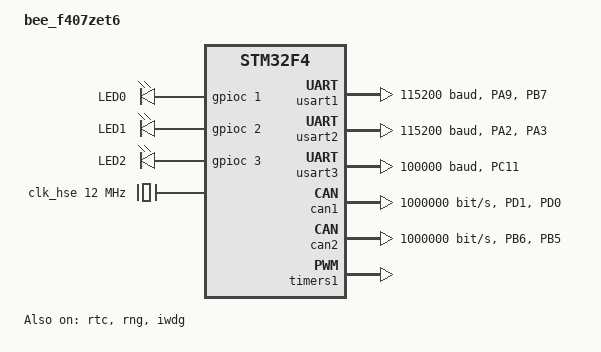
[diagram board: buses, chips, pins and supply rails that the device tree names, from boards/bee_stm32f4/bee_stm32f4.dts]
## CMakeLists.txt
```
# SPDX-License-Identifier: Apache-2.0

cmake_minimum_required(VERSION 3.20.0)
set(BOARD_ROOT "${CMAKE_SOURCE_DIR}")
set(BOARD "bee_stm32f4")
find_package(Zephyr REQUIRED HINTS $ENV{ZEPHYR_BASE})

set(CMAKE_PROJECT_NAME mammoth)
project(${CMAKE_PROJECT_NAME} LANGUAGES C CXX)

target_sources(app PRIVATE
#        src/*.cpp
        src/main.cpp
        src/chassis.cpp
        src/shoot_ring.cpp
        src/aim.cpp
        src/remote.cpp
        motorPack/motor.cpp
        motorPack/can_motor.cpp
        motorPack/pid.cpp
        motorPack/deeprobotics_j60.cpp
        src/load_ring.cpp
        src/can.cpp
        src/dji_dbus.cpp
        src/motor_music.cpp
        src/upper_computer_communication.cpp
        src/serial.cpp
        motorPack/pwm_motor.cpp
        motorPack/pwm_servo.cpp
        motorPack/CubeMarsAK.cpp
        motorPack/dji_motor.cpp
        src/test.cpp
        motorPack/get_time.cpp

)

target_include_directories(app PRIVATE inc src motorPack eigen

)
```

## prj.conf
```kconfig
# 启用 GPIO 驱动
CONFIG_GPIO=y
# DEBUG
CONFIG_DEBUG=y
CONFIG_DEBUG_THREAD_INFO=y

CONFIG_CORTEX_M_DEBUG_MONITOR_HOOK=y
CONFIG_SEGGER_DEBUGMON=y

CONFIG_NO_OPTIMIZATIONS=y
# 可选：同时把断言也打开
CONFIG_ASSERT=y

# 打开 C++ 支持
CONFIG_CPP=y
CONFIG_REQUIRES_FULL_LIBCPP=y
CONFIG_STD_CPP17=y

# 启用 DMA 核心驱动
CONFIG_DMA=y

# 串口配置
CONFIG_SERIAL=y
# 启用 UART 异步 API
CONFIG_UART_ASYNC_API=y
CONFIG_UART_CONSOLE=n

# 启用 LED
CONFIG_LED=y
CONFIG_LED_GPIO=y

# 启用看门狗
# CONFIG_WATCHDOG=n

# 启用 RNG
# CONFIG_RNG=n
# CONFIG_RNG_STM32=n

# 启用系统时钟
CONFIG_SYS_CLOCK_TICKS_PER_SEC=1000

CONFIG_PWM=y
CONFIG_PWM_STM32=y

#启用can
CONFIG_CAN=y

CONFIG_HEAP_MEM_POOL_SIZE=16384

# 强制将中断栈增大到 4KB 或 8KB
#CONFIG_ISR_STACK_SIZE=4096

# 同时增大主线程栈，防止 SendData 压坏栈
CONFIG_MAIN_STACK_SIZE=4096

# 开启栈溢出保护，这样如果还是溢出，系统会打印 "Stack Overflow" 而不是直接死机
CONFIG_HW_STACK_PROTECTION=y
# --- RTT 基础配置 ---
CONFIG_USE_SEGGER_RTT=y
CONFIG_RTT_CONSOLE=y
CONFIG_UART_CONSOLE=n

# --- 日志系统 (可选，但推荐) ---
CONFIG_LOG=y
CONFIG_LOG_BACKEND_RTT=y
CONFIG_LOG_PRINTK=y
# 增大缓冲区，防止丢失数据
CONFIG_SEGGER_RTT_BUFFER_SIZE_UP=4096

# --- 关闭冲突项 ---
CONFIG_TRACING=n
```

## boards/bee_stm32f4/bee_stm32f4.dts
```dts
/dts-v1/;

#include <st/f4/stm32f407Xe.dtsi>
#include <zephyr/dt-bindings/gpio/gpio.h>
#include <zephyr/dt-bindings/pinctrl/stm32-pinctrl.h>
#include <zephyr/dt-bindings/pwm/stm32_pwm.h>

/ {
    model = "bee_f407zet6";
    compatible = "st,stm32f407zet6", "st,stm32f4";

    chosen {
        zephyr,sram = &sram0;
        zephyr,flash = &flash0;
        zephyr,ccm = &ccm0;
    };

    aliases {
        led0 = &led_0_red;
        led1 = &led_1_blue;
        led2 = &led_2_green;
        watchdog0 = &iwdg;
        pwm0 = &tim1_pwm;
        dbus = &usart3;
    };

    leds {
        compatible = "gpio-leds";

        led_0_red: led_0_red {
            gpios = <&gpioc 1 GPIO_ACTIVE_HIGH>;
            label = "LED0";
        };

        led_1_blue: led_1_blue {
            gpios = <&gpioc 2 GPIO_ACTIVE_HIGH>;
            label = "LED1";
        };

        led_2_green: led_2_green {
            gpios = <&gpioc 3 GPIO_ACTIVE_HIGH>;
            label = "LED2";
        };
    };

};

&clk_lsi {
    status = "okay";
};

&clk_hse {
    clock-frequency = <DT_FREQ_M(12)>;
    status = "okay";
};

&pll {
    div-m = <8>;
    mul-n = <168>;
    div-p = <2>;
    div-q = <8>;
    clocks = <&clk_hse>;
    status = "okay";
};

&rcc {
    clocks = <&pll>;
    clock-frequency = <DT_FREQ_M(168)>;
    ahb-prescaler = <1>;
    apb1-prescaler = <4>;
    apb2-prescaler = <2>;
};

&rtc {
    clocks = <&rcc STM32_CLOCK(APB1, 28)>, <&rcc STM32_SRC_LSI RTC_SEL(2)>;
    status = "okay";
};

&rng {
    status = "okay";
};

&iwdg {
    status = "okay";
};

&pinctrl {
    usart1_tx_pin: usart1_tx {
        pinmux = <STM32_PINMUX('A', 9, AF7)>;
        bias-disable;
    };
    usart1_rx_pin: usart1_rx {
        pinmux = <STM32_PINMUX('B', 7, AF7)>;
        bias-disable;
    };
    usart2_tx_pin: usart2_tx {
        pinmux = <STM32_PINMUX('A', 2, AF7)>;
        bias-disable;
    };
    usart2_rx_pin: usart2_rx {
        pinmux = <STM32_PINMUX('A', 3, AF7)>;
        bias-disable;
    };
    usart3_rx_pin: usart3_rx {
        pinmux = <STM32_PINMUX('C', 11, AF7)>;
        bias-disable;
    };

    can1_tx_pin: can1_tx {
        pinmux = <STM32_PINMUX('D', 1, AF9)>;
        bias-disable;
    };
    can1_rx_pin: can1_rx {
        pinmux = <STM32_PINMUX('D', 0, AF9)>;
        bias-disable;
    };

    can2_tx_pin: can2_tx {
        pinmux = <STM32_PINMUX('B', 6, AF9)>;
        bias-disable;
    };
    can2_rx_pin: can2_rx {
        pinmux = <STM32_PINMUX('B', 5, AF9)>;
        bias-disable;
    };
    tim1_ch4_pin: tim1_ch4{
        pinmux = <STM32_PINMUX('E', 14, AF1)>;
    };
};

&usart1 {
    pinctrl-0 = <&usart1_tx_pin &usart1_rx_pin>;
    pinctrl-names = "default";
    status = "okay";
    current-speed = <115200>;
    parity = "none";
    stop-bits = "1";
    data-bits = <8>;
};
&usart2 {
    pinctrl-0 = <&usart2_tx_pin &usart2_rx_pin>;
    pinctrl-names = "default";
    status = "okay";
    current-speed = <115200>;
    parity = "none";
    stop-bits = "1";
    data-bits = <8>;
};
&usart3 {
    pinctrl-0 = <&usart3_rx_pin>;
    pinctrl-names = "default";
    status = "okay";
    current-speed = <100000>;
    parity = "even";
    stop-bits = "2";
    data-bits = <8>;
    /*
    * Stream:1
    * Channel:4
    * Config:0x10400(RX Memory Inc + Medium Priority)
    * Features:0
    */
    dmas= <&dma1 1 4 0x10480 0>;
    dma-names = "rx";
};
&can1 {
    pinctrl-0 = <&can1_tx_pin &can1_rx_pin>;
    pinctrl-names = "default";
    status = "okay";
    bitrate = <1000000>;  /* 替换 bus-speed */
    /* 删除 st,can-filter-mask */
};

&can2 {
    pinctrl-0 = <&can2_tx_pin &can2_rx_pin>;
    pinctrl-names = "default";
    status = "okay";
    bitrate = <1000000>;  /* 替换 bus-speed */
    /* 删除 st,can-filter-mask */
};

&dma1 {
    status = "okay";
};
&dma2 {
    status = "okay";
};
//tim1 ch4
&timers1{
    status = "okay";
    st,prescaler = <1000>;
    tim1_pwm:pwm{
        status = "okay";
        pinctrl-0 = <&tim1_ch4_pin>;
        pinctrl-names = "default";
    };
};
```

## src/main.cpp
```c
//
// Created by nyuki on 2025/11/19.
//

#include "main.h"
#include "zephyr/kernel.h"
#include "can.h"
#include <zephyr/drivers/gpio.h>
#include <load_ring.h>

#include "remote.h"
#include "motor_music.h"
#include "serial.h"
#include "upper_computer_communication.h"
#include "test.h"

#include "kalman_filter.h"
//led指示灯
static const struct gpio_dt_spec led_blue = GPIO_DT_SPEC_GET(DT_ALIAS(led1), gpios);
//底盘
K_THREAD_STACK_DEFINE(chassis_stack_area, 4096);
OmniChassis chassis(0.5, 0.5, 0.15, 5000,
                    1, 2, 4, 3,
                    chassis_can_dev, chassis_stack_area,
                    K_THREAD_STACK_SIZEOF(chassis_stack_area));
//云台
K_THREAD_STACK_DEFINE(ptz_stack_area, 4096);
PTZ ptz(6,5,ptz_can_dev,ptz_stack_area,K_THREAD_STACK_SIZEOF(ptz_stack_area));
//遥控器
extern Remote remote;
//上位机
static const struct device *upper_uart_dev = DEVICE_DT_GET(DT_NODELABEL(usart1));
K_THREAD_STACK_DEFINE(upper_stack_area, 1024);
UpperComputer upper_computer(upper_uart_dev, upper_stack_area, K_THREAD_STACK_SIZEOF(upper_stack_area));


bool Init() {
    Test();
    CanInit(chassis_can_dev);
    CanInit(ptz_can_dev);
    // ptz.Init();
    remote.Init();
    chassis.Init();
    upper_computer.Init();
    // MusicInit();
    return true;
}
int main() {
    // LoadRing();
    if (Init()) {
        printk("初始化成功");
    } else {
        printk("初始化失败");
        return 0;
    }

    gpio_pin_configure_dt(&led_blue, GPIO_OUTPUT_LOW);
    while (true) {
        //运行状态指示灯
        gpio_pin_toggle_dt(&led_blue);
        k_msleep(200);
    }
    return 0;
}
```

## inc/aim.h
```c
//
// Created by nyuki on 2025/11/19.
//

#ifndef MAMMOTH_AIM_H
#define MAMMOTH_AIM_H
#include "dji_motor.h"

class PTZ {
public:
    typedef struct {
        int max_angle;
        int min_angle;
        int angle;
        int zero_angle;
        int32_t target;
    }data_t;

    PTZ(int yaw_motor_id,int pitch_motor_id,const struct device * can_dev,k_thread_stack_t *stack,size_t stack_size):yaw_motor_(yaw_motor_id,can_dev),pitch_motor_(pitch_motor_id,can_dev),stack_(stack),stack_size_(stack_size) {}
    void Init();
    void SetAngle(float yaw,float pitch);
    DjiM3508 yaw_motor_;
    DjiM3508 pitch_motor_;
    data_t yaw_data_;
    data_t pitch_data_;

    
private:
    void InitMotorDirection(bool is_positive_direction);
    void CheckMotorOnline();
    static void ThreadEntry(void *p1, void *p2, void *p3);
    k_thread_stack_t *stack_;
    size_t stack_size_;
    struct k_thread thread_data_;
};
#endif //MAMMOTH_AIM_H
```

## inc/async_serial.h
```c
//
// Created by nyuki on 2025/11/24.
//

#ifndef MAMMOTH_ASYNC_SERIAL_H
#define MAMMOTH_ASYNC_SERIAL_H
#include "zephyr/device.h"
#include "zephyr/drivers/uart.h"
class AsyncSerial
{
public:
    AsyncSerial(const struct device* dev);
protected:
    const struct device* _dev;
    static void uart_callback_wrapper(const struct device *dev,
                                     struct uart_event *evt,
                                     void *user_data);
};
#endif //MAMMOTH_ASYNC_SERIAL_H
```

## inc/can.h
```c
//
// Created by nyuki on 2025/11/19.
//

#ifndef MAMMOTH_CAN_H
#define MAMMOTH_CAN_H
#include "zephyr/device.h"

void CanInit(const struct device *can_id);
static const struct device *const chassis_can_dev = DEVICE_DT_GET(DT_NODELABEL(can2));
static const struct device *const ptz_can_dev = DEVICE_DT_GET(DT_NODELABEL(can2));
#endif //MAMMOTH_CAN_H
```

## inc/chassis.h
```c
//
// Created by nyuki on 2025/11/19.
//

#ifndef MAMMOTH_CHASSIS_H
#define MAMMOTH_CHASSIS_H
#include "dji_motor.h"
#include <Eigen/Dense>
using namespace std;
using namespace Eigen;

class Chassis
{
public:
    float max_wheel_rpm_;

    Chassis(float max_rpm) : max_wheel_rpm_(max_rpm)
    {
    };
    ~Chassis() = default;
    float max_speed_;
    float world_x_;
    float world_y_;
    float world_z_;
    float world_yaw_;
    float world_pitch_;
    float world_roll_;
    float vx_;
    float vy_;
    float yaw_;
    //目标
    float target_vx_;
    float target_vy_;
    float target_omega_;

    virtual void SetSpeed()
    {
    }
};

class OmniChassis : protected Chassis
{
public:
    DjiM3508 motor_fl_;
    DjiM3508 motor_fr_;
    DjiM3508 motor_rl_;
    DjiM3508 motor_rr_;
    DjiM3508* motors[4] = {&motor_fl_, &motor_fr_, &motor_rl_, &motor_rr_};
    Matrix<float, 4, 3> geometry_matrix_;
    float wheel_radius_;
    /**
     * @brief 构造函数，初始化几何矩阵
     * @param width_span  左右轮子中心间距 (Track Width)
     * @param length_span 前后轮子中心间距 (Wheel Base)
     * @param wheel_radius 轮子半径 (米)
     * @param max_wheel_rpm      电机最大转速 (用于归一化保护)
     * @param motor_fl_id   左前电机 ID
     * @param motor_fr_id   右前电机 ID
     * @param motor_rl_id   左后电机 ID
     * @param motor_rr_id   右后电机 ID
     */
    OmniChassis(float width_span, float length_span, float wheel_radius, float max_wheel_rpm, int motor_fl_id,
                int motor_fr_id, int motor_rl_id, int motor_rr_id, const struct device* can_dev,
                k_thread_stack_t* stack, size_t stack_size) : Chassis(max_wheel_rpm),
                                                              wheel_radius_(wheel_radius),
                                                              motor_fl_(motor_fl_id, can_dev),
                                                              motor_fr_(motor_fr_id, can_dev),
                                                              motor_rl_(motor_rl_id, can_dev),
                                                              motor_rr_(motor_rr_id, can_dev), stack_(stack),
                                                              stack_size_(stack_size)
    {
        float a = width_span / 2.0f;
        float b = length_span / 2.0f;
        float k = a + b; // 几何系数

        // 初始化逆运动学矩阵 (对应 X 型布局)
        // 顺序: [FL, FR, RL, RR]
        // 输入: [vx, vy, omega]

        geometry_matrix_ <<
            1, 1, k, // FL: vx - vy - k*w
            -1, 1, k, // FR: vx + vy + k*w
            1, -1, k, // RL: vx + vy - k*w
            -1, -1, k; // RR: vx - vy + k*w
    }

    void MotorInit(float spd_pid_kp, float spd_pid_ki, float spd_pid_kd, float spd_pid_max_output = 2000,
                   float pos_pid_kp = 0, float pos_pid_ki = 0, float pos_pid_kd = 0, float pos_pid_max_output = 2000);
    //实际底盘速度发送函数
    void SetSpeed();
    /**
     * @brief 设置底盘目标速度，此接口用于供遥控器调用
     * @param vx     底盘 X 轴速度 (m/s)
     * @param vy     底盘 Y 轴速度 (m/s)
     * @param omega  底盘自转角速度 (rad/s)
     */
    void SetTargetSpeed(float vx, float vy, float omega);

    int Init();

private:
    /**
     * @brief 逆运动学解算：输入底盘速度，输出电机转速(RPM)
     * @param vx     底盘 X 轴速度 (m/s)
     * @param vy     底盘 Y 轴速度 (m/s)
     * @param omega  底盘自转角速度 (rad/s)
     * @return Vector4f 包含四个轮子的转速 [FL, FR, RL, RR] 单位: RPM
     */
    Vector4f ComputeInverseKinematics(float vx, float vy, float omega) const;
    void NormalizeSpeed(Vector4f& rpm) const;
    static void ThreadEntry(void* p1, void* p2, void* p3);
    k_thread_stack_t* stack_;
    size_t stack_size_;
    struct k_thread thread_data_;
};
#endif //MAMMOTH_CHASSIS_H
```

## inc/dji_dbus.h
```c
#pragma once
#include <zephyr/kernel.h>
#include <zephyr/drivers/uart.h>
#include <cstdint>

#define DBUS_FRAME_SIZE 18
#define DBUS_PAYLOAD_OFFSET 1

class DjiDbus
{
public:
    // 数据结构
    struct RemoteData
    {
        int16_t ch0;
        int16_t ch1;
        int16_t ch2;
        int16_t ch3;
        uint8_t s1;
        uint8_t s2;
        uint16_t mouse_x;
        uint16_t mouse_y;
        uint16_t mouse_z;
        uint8_t mouse_left;
        uint8_t mouse_right;
        uint16_t key;
    };

    DjiDbus(const struct device *const dbus_dev);
    int ReceivingData();

    void GetData(RemoteData& out_data);

protected:
    const struct device *const dev_;

    struct buffer_t
    {
        uint8_t data[DBUS_FRAME_SIZE];
    } __aligned(4);

    buffer_t buf1_;
    buffer_t buf2_;
    buffer_t* next_buf_ptr_;

    // 影子副本
    RemoteData data_safe_;

    struct k_spinlock lock_;

    static void uart_callback(const struct device *dev, struct uart_event *evt, void *user_data);
    void process_event(struct uart_event *evt);

    void parse_raw_to_struct(const uint8_t* raw_ptr, RemoteData& target);
};
```

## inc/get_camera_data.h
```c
//
// Created by nyuki on 2025/11/29.
//

#ifndef MAMMOTH_GET_CAMERA_DATA_H
#define MAMMOTH_GET_CAMERA_DATA_H

#endif //MAMMOTH_GET_CAMERA_DATA_H
```

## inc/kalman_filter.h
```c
//
// Created by nyuki on 2025/12/29.
//

#ifndef MAMMOTH_KALMAN_FILTER_H
#define MAMMOTH_KALMAN_FILTER_H
#include <Eigen/Dense>

/**
 * @brief 卡尔曼滤波
 *
 * @tparam StateDim 状态向量 x 的维度
 * @tparam MeasureDim 测量向量 z 的维度
 * @tparam ControlDim 控制向量 u 的维度 (默认为0)
 */
template <int StateDim, int MeasureDim, int ControlDim = 0>
class KalmanFilter
{
public:
    using VectorState = Eigen::Matrix<double, StateDim, 1>;
    using VectorMeasure = Eigen::Matrix<double, MeasureDim, 1>;
    using VectorControl = Eigen::Matrix<double, ControlDim, 1>;

    using MatrixState = Eigen::Matrix<double, StateDim, StateDim>;
    using MatrixMeasure = Eigen::Matrix<double, MeasureDim, MeasureDim>;
    using MatrixStateMeasure = Eigen::Matrix<double, StateDim, MeasureDim>;
    using MatrixMeasureState = Eigen::Matrix<double, MeasureDim, StateDim>;
    using MatrixStateControl = Eigen::Matrix<double, StateDim, ControlDim>;

    VectorState x; // 状态向量
    MatrixState P; // 状态协方差矩阵
    MatrixState Q; // 过程噪声协方差矩阵
    MatrixMeasure R; // 测量噪声协方差矩阵

    MatrixState A; // 状态转移矩阵
    MatrixStateControl B; // 控制输入矩阵
    MatrixMeasureState H; // 测量矩阵

    /**
     * @brief 构造函数
     */
    KalmanFilter()
    {
        x.setZero();
        P.setIdentity();
        Q.setIdentity();
        R.setIdentity();
        A.setIdentity();
        B.setZero();
        H.setZero();
    }

    /**
     * @brief 初始化状态和协方差
     */
    void Init(const VectorState& initial_x, const MatrixState& initial_P)
    {
        x = initial_x;
        P = initial_P;
    }

    /**
     * @brief 预测步骤 (包含控制输入 u)
     * x' = A*x + B*u
     * P' = A*P*A^T + Q
     */
    void Predict(const VectorControl& u)
    {
        x = A * x + B * u;
        P = A * P * A.transpose() + Q;
    }

    /**
     * @brief 预测步骤 (无控制输入)
     * 重载版本，当没有 u 时调用
     */
    void Predict()
    {
        x = A * x;
        P = A * P * A.transpose() + Q;
    }

    /**
     * @brief 更新步骤
     * K = P * H^T * (H * P * H^T + R)^-1
     * x = x + K * (z - H * x)
     * P = (I - K * H) * P
     */
    void Update(const VectorMeasure& z)
    {
        MatrixMeasure S = H * P * H.transpose() + R;

        // 计算 K = P * H^T * S^-1
        // MatrixStateMeasure K = P * H.transpose() * S.inverse();
        MatrixStateMeasure K = (S.ldlt().solve(H * P)).transpose();

        VectorMeasure y = z - H * x; // 测量残差
        x = x + K * y;

        MatrixState I = MatrixState::Identity();
        P = (I - K * H) * P;
    }
};

#endif //MAMMOTH_KALMAN_FILTER_H
```

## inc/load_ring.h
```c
//
// Created by nyuki on 2025/11/19.
//

#ifndef MAMMOTH_LOAD_RING_H
#define MAMMOTH_LOAD_RING_H
void LoadRing();
#endif //MAMMOTH_LOAD_RING_H
```

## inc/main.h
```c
//
// Created by nyuki on 2025/11/19.
//

#ifndef MAMMOTH_MAIN_H
#define MAMMOTH_MAIN_H
#include "aim.h"
#include "chassis.h"
#include "can.h"

extern PTZ ptz;
extern OmniChassis chassis;

#endif //MAMMOTH_MAIN_H
```

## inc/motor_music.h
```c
//
// Created by nyuki on 2025/11/27.
//

#ifndef MAMMOTH_MOTOR_MUSIC_H
#define MAMMOTH_MOTOR_MUSIC_H

#include <array>
#include <vector>

#include "motor.h"
#include "dji_motor.h"
#include <zephyr/kernel.h>
#include "can.h"
struct Note {
    uint16_t frequency; // 频率
    uint16_t duration;  // 时长系数
};

class MotorMusic {
public:
    DjiM3508 motor;
    MotorMusic(int id,const struct device * can_dev,int max_cur,float volume,k_thread_stack_t *stack,size_t stack_size):motor(id,can_dev),max_cur_(max_cur),volume_(volume),stack_(stack),stack_size_(stack_size){}

    void play(const Note* musical_score, size_t length,int unit);

    int Init();
protected:
    int max_cur_;
    float volume_;
private:
    k_thread_stack_t *stack_;
    size_t stack_size_;
    struct k_thread thread_data_;
    // static void ThreadEntry(void *p1, void *p2, void *p3);

};
#endif //MAMMOTH_MOTOR_MUSIC_H
```

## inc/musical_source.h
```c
//
// Created by nyuki on 2025/11/27.
//

#ifndef MAMMOTH_MUSIC_SOURCE_H
#define MAMMOTH_MUSIC_SOURCE_H
// ==========================================
// 补全：超低音区 (用于模拟震动、引擎声)
// ==========================================
#define C2  65
#define Cs2 69
#define D2  73
#define Ds2 78
#define E2  82
#define F2  87
#define Fs2 93
#define G2  98
#define Gs2 104
#define A2  110
#define As2 117
#define B2  123

// ==========================================
// 补全：低音区 (用于鼓点、贝斯伴奏)
// ==========================================
#define C3  131
#define Cs3 139
#define D3  147
#define Ds3 156
#define E3  165
#define F3  175
#define Fs3 185
#define G3  196
#define Gs3 208
#define A3  220
#define As3 233
#define B3  247

#define C4  262
#define Cs4 277
#define D4  294
#define Ds4 311
#define E4  330
#define F4  349
#define Fs4 370
#define G4  392
#define Gs4 415
#define A4  440
#define As4 466
#define B4  494

#define C5  523
#define Cs5 554
#define D5  587
#define Ds5 622
#define E5  659
#define F5  698
#define Fs5 740
#define G5  784
#define Gs5 831
#define A5  880
#define As5 932
#define B5  988

#define C6  1047
#define Cs6 1109
#define D6  1175
#define Ds6 1245
#define E6  1319
#define F6  1397
#define Fs6 1480
#define G6  1568
#define Gs6 1661
#define A6  1760
#define As6 1865
#define B6  1976

#define C7  2093
#define Cs7 2217
#define D7  2349
#define Ds7 2489
#define E7  2637
#define F7  2794
#define Fs7 2960
#define G7  3136
#define Gs7 3322
#define A7  3520
#define As7 3729
#define B7  3951

// #define UNIT 125

static const Note happy_birthday[] = {
    // === 第一句: Happy Birthday to You ===
    {G4, 1}, {0, 1},  // Hap-
    {G4, 1}, {0, 1},  // py
    {A4, 2}, {0, 1},  // Birth-
    {G4, 2}, {0, 1},  // day
    {C5, 2}, {0, 1},  // to
    {B4, 4}, {0, 2},  // You (长音)

    // === 第二句: Happy Birthday to You ===
    {G4, 1}, {0, 1},  // Hap-
    {G4, 1}, {0, 1},  // py
    {A4, 2}, {0, 1},  // Birth-
    {G4, 2}, {0, 1},  // day
    {D5, 2}, {0, 1},  // to
    {C5, 4}, {0, 2},  // You (长音)

    // === 第三句: Happy Birthday Dear [Name] (高潮部分) ===
    {G4, 1}, {0, 1},  // Hap-
    {G4, 1}, {0, 1},  // py
    {G5, 2}, {0, 1},  // Birth- (高音索)
    {E5, 2}, {0, 1},  // day
    {C5, 2}, {0, 1},  // Dear
    {B4, 2}, {0, 1},  // Na-
    {A4, 4}, {0, 2},  // me (长音)

    // === 第四句: Happy Birthday to You ===
    {F5, 1}, {0, 1},  // Hap- (注意这里用了F5，法)
    {F5, 1}, {0, 1},  // py
    {E5, 2}, {0, 1},  // Birth-
    {C5, 2}, {0, 1},  // day
    {D5, 2}, {0, 1},  // to
    {C5, 6}, {0, 4},  // You (最后结束，拖长一点)

    // 结束休止
    {0, 10}
};
static const Note happy_birthday_full[] = {
    // (So So La So Do Ti)
    {G4, 1}, {0, 1},  // Hap- (1)
    {G4, 1}, {0, 1},  // py   (1)
    {A4, 2}, {0, 1},  // Birth- (2)
    {G4, 2}, {0, 1},  // day  (2)
    {C5, 2}, {0, 1},  // to   (2)
    {B4, 4}, {0, 2},  // You  (4 - 长音)

    // (So So La So Re Do)
    {G4, 1}, {0, 1},  // Hap-
    {G4, 1}, {0, 1},  // py
    {A4, 2}, {0, 1},  // Birth-
    {G4, 2}, {0, 1},  // day
    {D5, 2}, {0, 1},  // to
    {C5, 4}, {0, 2},  // You (长音)

    // (So So So(High) Mi Do Ti La)
    {G4, 1}, {0, 1},  // Hap-
    {G4, 1}, {0, 1},  // py
    {G5, 2}, {0, 1},  // Birth- (高音!)
    {E5, 2}, {0, 1},  // day
    {C5, 2}, {0, 1},  // Dear
    {B4, 2}, {0, 1},  // Na-
    {A4, 4}, {0, 2},  // me (长音)

    // (Fa Fa Mi Do Re Do)
    {F5, 1}, {0, 1},  // Hap-
    {F5, 1}, {0, 1},  // py
    {E5, 2}, {0, 1},  // Birth-
    {C5, 2}, {0, 1},  // day
    {D5, 2}, {0, 1},  // to
    {C5, 6}, {0, 4},  // You (最长结束音)

    // 留白
    {0, 10}
};
// 海底捞名曲：《对所有的烦恼说 Bye Bye》
// 建议 tempo: UNIT = 100 ms

static const Note haidilao_birthday[] = {
    // 强拍加低音 C3 (130Hz)
    {C3, 1}, {E5, 1}, {0, 1}, {E5, 1}, {0, 1}, {E5, 1}, {0, 1}, // 动-对-空-所-空-有
    // ...
    // === 第一句：对所有的烦恼说 Bye Bye ===
    // (3 3 3 4 5 | 5 4 3 2 2)
    {E5, 1}, {0, 1}, {E5, 1}, {0, 1}, {E5, 1}, {0, 1}, {F5, 1}, {0, 1}, {G5, 2}, {0, 1}, // 对所有的
    {G5, 1}, {0, 1}, {F5, 1}, {0, 1}, {E5, 1}, {0, 1}, {D5, 2}, {0, 1}, {D5, 2}, {0, 1}, // 烦恼说 Bye Bye

    // === 第二句：对所有的快乐说 Hi Hi ===
    // (2 2 2 3 4 | 4 3 2 3 3)
    {D5, 1}, {0, 1}, {D5, 1}, {0, 1}, {D5, 1}, {0, 1}, {E5, 1}, {0, 1}, {F5, 2}, {0, 1}, // 对所有的
    {F5, 1}, {0, 1}, {E5, 1}, {0, 1}, {D5, 1}, {0, 1}, {E5, 2}, {0, 1}, {E5, 2}, {0, 1}, // 快乐说 Hi Hi

    // === 第三句：亲爱的亲爱的 生日快乐 ===
    // (3 3 3 4 5 | 5 4 3 2 2)
    {E5, 1}, {0, 1}, {E5, 1}, {0, 1}, {E5, 1}, {0, 1}, {F5, 1}, {0, 1}, {G5, 2}, {0, 1}, // 亲爱的
    {G5, 1}, {0, 1}, {F5, 1}, {0, 1}, {E5, 1}, {0, 1}, {D5, 2}, {0, 1}, {D5, 2}, {0, 1}, // 亲爱的...

    // === 第四句：每一天都精彩 ===
    // (2 2 3 2 1)
    {D5, 1}, {0, 1}, {D5, 1}, {0, 1}, {E5, 1}, {0, 1}, {D5, 1}, {0, 1}, {C5, 4}, {0, 2}, // 每一天都精彩

    // === 间奏：噔 噔 噔噔噔 (和弦音效模拟) ===
    {C5, 1}, {0, 1}, {E5, 1}, {0, 1}, {G5, 1}, {E5, 1}, {C6, 4}, {0, 4},

    // === 结尾：看最后一眼 (Ha-ppy Birth-day) ===
    {G4, 1}, {0, 1}, {G4, 1}, {0, 1}, {A4, 2}, {0, 1}, {B4, 2}, {0, 1}, {C5, 6}, {0, 6}
};
// 广东名曲：《祝寿歌》 (恭祝你福寿与天齐)
// 建议 UNIT = 125 或 130

static const Note cantonese_birthday[] = {
    // === 第一句：恭祝你福寿与天齐 ===
    // (So Do Do Re Mi Do Re Mi)
    {G4, 1}, {0, 1},  // 恭
    {C5, 1}, {0, 1},  // 祝
    {C5, 1}, {0, 1},  // 你
    {D5, 1}, {0, 1},  // 福
    {E5, 1}, {0, 1},  // 寿
    {C5, 1}, {0, 1},  // 与
    {D5, 1}, {0, 1},  // 天
    {E5, 4}, {0, 2},  // 齐 (长音)

    // === 第二句：庆贺你生辰快乐 ===
    // (Re Mi Fa So Fa Mi Re Do)
    {D5, 1}, {0, 1},  // 庆
    {E5, 1}, {0, 1},  // 贺
    {F5, 1}, {0, 1},  // 你
    {G5, 1}, {0, 1},  // 生
    {F5, 1}, {0, 1},  // 辰
    {E5, 1}, {0, 1},  // 快
    {D5, 1}, {0, 1},  // 乐
    {C5, 4}, {0, 2},  // (长音)

    // === 第三句：年年都有今日 ===
    // (Do Do Re Do So So)
    {C5, 1}, {0, 1},  // 年
    {C5, 1}, {0, 1},  // 年
    {D5, 1}, {0, 1},  // 都
    {C5, 1}, {0, 1},  // 有
    {G5, 2}, {0, 1},  // 今
    {G5, 2}, {0, 1},  // 日

    // === 第四句：岁岁都有今朝 ===
    // (La So Fa Mi Re Do)
    {A5, 1}, {0, 1},  // 岁
    {G5, 1}, {0, 1},  // 岁
    {F5, 1}, {0, 1},  // 都
    {E5, 1}, {0, 1},  // 有
    {D5, 2}, {0, 1},  // 今
    {C5, 4}, {0, 2},  // 朝

    // === 第五句：恭喜你 恭喜你 ===
    // (Do Re Mi, Re Mi Fa)
    {C5, 1}, {0, 1}, {D5, 1}, {0, 1}, {E5, 3}, {0, 1}, // 恭喜你
    {D5, 1}, {0, 1}, {E5, 1}, {0, 1}, {F5, 3}, {0, 1}, // 恭喜你

    // === 结尾：恭喜你 (So Re Mi Fa) ===
    {G5, 1}, {0, 1}, {D5, 1}, {0, 1}, {E5, 1}, {0, 1}, {F5, 1}, {0, 1}, // 恭喜你
    {E5, 4}, {0, 2}, {C5, 6}, {0, 4}, // (结束长音)

    // 结束休止
    {0, 10}
};
static const Note hajimi_original[] = {
    // Dango Dango Dango Dango (Do Do Ti La So So)
    {C5, 1}, {C5, 1}, {B4, 1}, {A4, 1}, {G4, 2}, {G4, 2},

    // Dango Daikazoku (Fa So La So Fa Mi Re)
    {F4, 1}, {G4, 1}, {A4, 1}, {G4, 1}, {F4, 1}, {E4, 1}, {D4, 2}, {0, 1},

    // (重复洗脑) Yancha na yaki dango (Do Do Ti La So So)
    {C5, 1}, {C5, 1}, {B4, 1}, {A4, 1}, {G4, 2}, {G4, 2},

    // Yasashii an dango (Fa So La So Fa Mi Re)
    {F4, 1}, {G4, 1}, {A4, 1}, {G4, 1}, {F4, 1}, {E4, 1}, {D4, 2}, {0, 1},

    // 稍微停顿，准备下一轮哈基米
    {C5, 1}, {0, 1}, {G4, 1}, {0, 1}, {C5, 4}, {0, 4}
};
// 中文互联网神曲：《蓝莲花》 (许巍) - The Hymn of Freedom
// 这里的 "蓝链" 指的是副歌部分：没有什么能够阻挡...

static const Note blue_lotus[] = {
    // === 第一句：没有什么能够阻挡 ===
    // (Mi Sol La ~ Sol Mi Re Do ~)
    {E5, 2}, {0, 1}, {G5, 2}, {0, 1}, {A5, 4}, {0, 1}, // 没有什么
    {G5, 2}, {0, 1}, {E5, 2}, {0, 1}, {D5, 2}, {0, 1}, {C5, 6}, {0, 2}, // 能够阻挡

    // === 第二句：你对自由的向往 ===
    // (Do Re Mi Sol ~ Mi Re ~~~)
    {C5, 2}, {0, 1}, {D5, 2}, {0, 1}, {E5, 2}, {0, 1}, {G5, 4}, {0, 1}, // 你对自由
    {E5, 2}, {0, 1}, {D5, 8}, {0, 4}, // 的向往 (长音拖住)

    // === 第三句：天马行空的生涯 ===
    // (Mi Sol La Do(high) ~ Si La Sol Mi ~)
    {E5, 2}, {0, 1}, {G5, 2}, {0, 1}, {A5, 2}, {0, 1}, {C6, 4}, {0, 1}, // 天马行空
    {B5, 3}, {0, 1}, {A5, 1}, {0, 1}, {G5, 2}, {0, 1}, {E5, 6}, {0, 2}, // 的生涯

    // === 第四句：你的心了无牵挂 ===
    // (Mi Sol La Sol ~ Mi Re Do ~~~)
    {E5, 2}, {0, 1}, {G5, 2}, {0, 1}, {A5, 2}, {0, 1}, {G5, 4}, {0, 1}, // 你的心了
    {E5, 2}, {0, 1}, {D5, 2}, {0, 1}, {C5, 10}, {0, 4}, // 无牵挂 (结束长音)

    // === 间奏吉他 Solo (简化版) ===
    // 穿过幽暗的岁月...
    {0, 4}, // 停顿一下
    {A5, 2}, {C6, 2}, {D6, 4}, {C6, 2}, {A5, 2}, {G5, 4}, // 吉他余音
    {0, 10}
};
// 麦当劳洗脑金曲：《我就喜欢》 (I'm Lovin' It)
// 旋律：Ba Da Ba Ba Ba (Do Re Mi La So)
static const Note mcdonalds_jingle[] = {
    // Ba (Do)
    {C5, 1}, {0, 1},

    // La (Re)
    {D5, 1}, {0, 1},

    // Ba (Mi)
    {E5, 1}, {0, 1},

    // Ba (La - 这是一个高音跳跃，灵魂所在)
    {A5, 2}, {0, 1},

    // Ba (So - 慵懒的结尾)
    {G5, 6}, {0, 4}
};
// 附赠：Windows XP 启动音效 (怀旧版)
// (Re# Re# Re# Do# La# G#)
static const Note windows_xp_startup[] = {
    {Ds5, 1}, {0, 1}, // 噔
    {Ds5, 1}, {0, 1}, // 噔
    {Ds5, 1}, {0, 1}, // 噔
    {Cs5, 2}, {0, 1}, // 噔~
    {As4, 2}, {0, 1}, // 噔~
    {Gs4, 6}, {0, 4}  // 噔~~~~
};
// 许巍 - 蓝莲花 (完整版)
// 包含前奏吉他 Solo + 主歌 + 副歌
static const Note blue_lotus_full[] = {
    // ===========================
    // Part 1: 经典吉他前奏 (Intro)
    // ===========================
    // (La Do Re Mi Sol Mi Re Do La ~)
    {A4, 1}, {0, 1}, {C5, 1}, {0, 1}, {D5, 1}, {0, 1}, {E5, 2}, {0, 1}, // 爬升
    {G5, 2}, {0, 1}, {E5, 2}, {0, 1}, {D5, 2}, {0, 1}, {C5, 2}, {0, 1}, {A4, 6}, {0, 2}, // 回落

    // (La Do Re Mi Sol Mi Re ~)
    {A4, 1}, {0, 1}, {C5, 1}, {0, 1}, {D5, 1}, {0, 1}, {E5, 2}, {0, 1},
    {G5, 2}, {0, 1}, {E5, 2}, {0, 1}, {D5, 6}, {0, 4}, // 长音

    // ===========================
    // Part 2: 主歌 (Verse)
    // ===========================
    // 心中那自由的世界 (La Do Re Mi Re Do La)
    {A4, 2}, {0, 1}, {C5, 2}, {0, 1}, {D5, 2}, {0, 1}, {E5, 4}, {0, 1},
    {D5, 2}, {0, 1}, {C5, 2}, {0, 1}, {A4, 6}, {0, 2},

    // 如此的清澈高远 (La Do Re Mi Sol Mi Re)
    {A4, 2}, {0, 1}, {C5, 2}, {0, 1}, {D5, 2}, {0, 1}, {E5, 4}, {0, 1},
    {G5, 2}, {0, 1}, {E5, 2}, {0, 1}, {D5, 6}, {0, 2},

    // 盛开着永不凋零 (Mi Sol La Do(H) Si La Sol)
    {E5, 2}, {0, 1}, {G5, 2}, {0, 1}, {A5, 2}, {0, 1}, {C6, 4}, {0, 1}, // 上高音 Do
    {B5, 2}, {0, 1}, {A5, 2}, {0, 1}, {G5, 6}, {0, 2},

    // 蓝莲花 (Mi Re Do La)
    {E5, 2}, {0, 1}, {D5, 2}, {0, 1}, {C5, 2}, {0, 1}, {A4, 8}, {0, 4}, // 极长的停顿

    // ===========================
    // Part 3: 副歌 (Chorus) - 高潮
    // ===========================
    // 没有什么能够阻挡 (Mi Sol La ~ Sol Mi Re Do)
    {E5, 2}, {0, 1}, {G5, 2}, {0, 1}, {A5, 6}, {0, 1}, // "挡"字要长
    {G5, 2}, {0, 1}, {E5, 2}, {0, 1}, {D5, 2}, {0, 1}, {C5, 8}, {0, 2},

    // 你对自由的向往 (Do Re Mi Sol ~ Mi Re ~)
    {C5, 2}, {0, 1}, {D5, 2}, {0, 1}, {E5, 2}, {0, 1}, {G5, 6}, {0, 1},
    {E5, 2}, {0, 1}, {D5, 8}, {0, 4},

    // 天马行空的生涯 (Mi Sol La Do(H) ~ Si La Sol Mi)
    {E5, 2}, {0, 1}, {G5, 2}, {0, 1}, {A5, 2}, {0, 1}, {C6, 6}, {0, 1}, // 最高音
    {B5, 2}, {0, 1}, {A5, 2}, {0, 1}, {G5, 2}, {0, 1}, {E5, 6}, {0, 2},

    // 你的心了无牵挂 (Mi Sol La Sol ~ Mi Re Do)
    {E5, 2}, {0, 1}, {G5, 2}, {0, 1}, {A5, 2}, {0, 1}, {G5, 6}, {0, 1},
    {E5, 2}, {0, 1}, {D5, 2}, {0, 1}, {C5, 8}, {0, 4},

    // ===========================
    // Part 4: 尾奏余音 (Outro)
    // ===========================
    // 穿过幽暗的岁月 (Mi Re Do La ~)
    {E5, 3}, {0, 1}, {D5, 3}, {0, 1}, {C5, 3}, {0, 1}, {A4, 10}, {0, 5},

    // 彻底结束
    {0, 10}
};
// B站名曲：《蓝莲哈》 (Lan Lian Ha)
// 原曲：许巍 - 蓝莲花
// 特点：模仿哈基米的高音唱腔，专注于副歌洗脑循环
static const Note lan_lian_ha[] = {
    // ===========================
    // 预备动作：哈基米深呼吸
    // ===========================
    {0, 4},

    // ===========================
    // 第一句：哈基米呜哇啊哦 (没有什么能够阻挡)
    // 3 5 6 ~~~ 5 3 2 1 ~~~
    // ===========================
    {E5, 2}, {0, 1}, // 哈 (Mei)
    {G5, 2}, {0, 1}, // 基 (You)
    {A5, 8}, {0, 2}, // 米~~~~~ (Shen Me - 这里的拉长是灵魂)

    {G5, 2}, {0, 1}, // 呜 (Neng)
    {E5, 2}, {0, 1}, // 哇 (Gou)
    {D5, 2}, {0, 1}, // 啊 (Zu)
    {C5, 8}, {0, 4}, // 哦~~~~~ (Dang)

    // ===========================
    // 第二句：你对哈基米的向往
    // 1 2 3 5 ~ 3 2 2 ~~~
    // ===========================
    {C5, 2}, {0, 1}, // 你 (Ni)
    {D5, 2}, {0, 1}, // 对 (Dui)
    {E5, 2}, {0, 1}, // 哈 (Zi)
    {G5, 6}, {0, 2}, // 基~~~~ (You)

    {E5, 2}, {0, 1}, // 米 (De)
    {D5, 10}, {0, 4}, // 的向往~~~~ (Xiang Wang)

    // ===========================
    // 第三句：天马行空的哈基米 (高音爆发)
    // 3 5 6 1(H) ~ 7 6 5 3 ~
    // ===========================
    {E5, 2}, {0, 1}, // 天 (Tian)
    {G5, 2}, {0, 1}, // 马 (Ma)
    {A5, 2}, {0, 1}, // 行 (Xing)
    {C6, 8}, {0, 2}, // 空~~~~~ (Kong - 最高音，电机尖叫吧！)

    {B5, 3}, {0, 1}, // 的 (De)
    {A5, 2}, {0, 1}, // 生 (Sheng)
    {G5, 2}, {0, 1}, // 涯 (Ya)
    {E5, 6}, {0, 4}, // ~~~~

    // ===========================
    // 第四句：你的心了无牵挂
    // 3 5 6 5 ~ 3 2 1 ~~~
    // ===========================
    {E5, 2}, {0, 1}, // 你 (Ni)
    {G5, 2}, {0, 1}, // 的 (De)
    {A5, 2}, {0, 1}, // 心 (Xin)
    {G5, 6}, {0, 2}, // 了~~~~ (Liao)

    {E5, 2}, {0, 1}, // 无 (Wu)
    {D5, 2}, {0, 1}, // 牵 (Qian)
    {C5, 10}, {0, 6}, // 挂~~~~~ (Gua)

    // 循环前的留白
    {0, 8}
};
// 圣诞名曲：《祝你圣诞快乐》 (We Wish You a Merry Christmas)
static const Note merry_christmas[] = {
    // === 第一句：We wish you a Merry Christmas ===
    // (So | Do Do Re Do Ti | La La)
    {G4, 2}, {0, 1}, // We (起拍)
    {C5, 2}, {0, 1}, // wish
    {C5, 1}, {D5, 1}, {C5, 1}, {B4, 1}, // you a Mer-ry (快速流动)
    {A4, 2}, {0, 1}, {A4, 2}, {0, 1}, // Christ-mas

    // === 第二句：We wish you a Merry Christmas ===
    // (La | Re Re Mi Re Do | Ti So)
    {A4, 2}, {0, 1}, // We
    {D5, 2}, {0, 1}, // wish
    {D5, 1}, {E5, 1}, {D5, 1}, {C5, 1}, // you a Mer-ry
    {B4, 2}, {0, 1}, {G4, 2}, {0, 1}, // Christ-mas

    // === 第三句：We wish you a Merry Christmas ===
    // (So | Mi Mi Fa Mi Re | Do La)
    {G4, 2}, {0, 1}, // We
    {E5, 2}, {0, 1}, // wish
    {E5, 1}, {F5, 1}, {E5, 1}, {D5, 1}, // you a Mer-ry
    {C5, 2}, {0, 1}, {A4, 2}, {0, 1}, // Christ-mas

    // === 第四句：And a Happy New Year ===
    // (So So | La Re Ti | Do)
    {G4, 1}, {G4, 1}, // And a
    {A4, 2}, {0, 1}, // Hap-
    {D5, 2}, {0, 1}, // py
    {B4, 2}, {0, 1}, // New
    {C5, 6}, {0, 4}, // Year (长音结束)

    {0, 10}
};
// 圣诞名曲：《铃儿响叮当》 (Jingle Bells)
// 包含副歌部分：叮叮当，叮叮当，铃儿响叮当
static const Note jingle_bells[] = {
    // === 第一句：叮叮当，叮叮当 ===
    // (Mi Mi Mi ~ Mi Mi Mi ~)
    {E5, 1}, {0, 1}, {E5, 1}, {0, 1}, {E5, 2}, {0, 2}, // Jingle bells
    {E5, 1}, {0, 1}, {E5, 1}, {0, 1}, {E5, 2}, {0, 2}, // Jingle bells

    // === 第二句：铃儿响叮当 ===
    // (Mi So Do Re Mi ~~~)
    {E5, 1}, {0, 1}, {G5, 1}, {0, 1}, {C5, 1}, {0, 1}, {D5, 1}, {0, 1},
    {E5, 6}, {0, 2}, // Jingle all the way

    // === 第三句：我们滑雪多快乐 ===
    // (Fa Fa Fa Fa Fa Mi Mi Mi)
    {F5, 1}, {0, 1}, {F5, 1}, {0, 1}, {F5, 1}, {0, 1}, {F5, 1}, {0, 1}, // Oh what fun
    {F5, 1}, {0, 1}, {E5, 1}, {0, 1}, {E5, 1}, {0, 1}, {E5, 1}, {0, 1}, // it is to ride

    // === 第四句：我们坐在雪橇上 ===
    // (Mi Re Re Mi Re ~ So ~)
    {E5, 1}, {0, 1}, {D5, 1}, {0, 1}, {D5, 1}, {0, 1}, {E5, 1}, {0, 1},
    {D5, 2}, {0, 1}, {G5, 2}, {0, 2}, // One horse open sleigh!

    // (重复一遍高潮 - 略)
    // 结尾：(So So Fa Re Do)
    {G5, 1}, {0, 1}, {G5, 1}, {0, 1}, {F5, 1}, {0, 1}, {D5, 1}, {0, 1}, {C5, 6}, {0, 4},

    {0, 10}
};
// 刘德华 - 恭喜发财 (CNY National Anthem)
// 包含前奏的鼓点和最经典的副歌
static const Note gong_xi_fa_cai[] = {
    // ===========================
    // Intro: 鞭炮与鼓点 (咚! 咚! 咚! 锵!)
    // ===========================
    {G3, 2}, {0, 1}, {G3, 2}, {0, 1}, {G3, 2}, {0, 1}, {C5, 4}, {0, 2}, // 低频震动模拟大鼓

    // ===========================
    // Pre-Chorus: 恭喜你发财，恭喜你精彩
    // (So So So Do(High) ~ So So So Re(High) ~)
    // ===========================
    {G4, 1}, {0, 1}, {G4, 1}, {0, 1}, {G4, 1}, {0, 1}, {C5, 4}, {0, 2}, // 恭喜你发财
    {G4, 1}, {0, 1}, {G4, 1}, {0, 1}, {G4, 1}, {0, 1}, {D5, 4}, {0, 2}, // 恭喜你精彩

    // ===========================
    // Verse: 我恭喜你发财 (主歌开始)
    // (Do Do Re Mi Fa So ~~~)
    // ===========================
    {C5, 1}, {0, 1}, {C5, 1}, {0, 1}, {D5, 1}, {0, 1}, {E5, 1}, {0, 1},
    {F5, 1}, {0, 1}, {G5, 4}, {0, 2}, // 我恭喜你发财

    // 我恭喜你精彩
    // (Do Do Re Mi Fa So ~~~)
    {C5, 1}, {0, 1}, {C5, 1}, {0, 1}, {D5, 1}, {0, 1}, {E5, 1}, {0, 1},
    {F5, 1}, {0, 1}, {G5, 4}, {0, 2}, // 我恭喜你精彩

    // ===========================
    // Bridge: 最好的请过来，不好的请走开
    // ===========================
    // 最好的请过来 (La La La So Fa ~)
    {A5, 1}, {0, 1}, {A5, 1}, {0, 1}, {A5, 1}, {0, 1}, {G5, 1}, {0, 1}, {F5, 4}, {0, 2},

    // 不好的请走开 (Fa Fa Fa Mi Re ~)
    {F5, 1}, {0, 1}, {F5, 1}, {0, 1}, {F5, 1}, {0, 1}, {E5, 1}, {0, 1}, {D5, 4}, {0, 2},

    // ===========================
    // Chorus: 礼多人不怪 (收尾)
    // (So So Mi Re Do ~~~)
    // ===========================
    {G5, 1}, {0, 1}, {G5, 1}, {0, 1}, {E5, 1}, {0, 1}, {D5, 1}, {0, 1},
    {C5, 8}, {0, 4}, // 礼多人不怪 (长音)

    // 结尾三声鼓：咚! 咚! 咚!
    {G3, 2}, {0, 2}, {G3, 2}, {0, 2}, {G3, 4}, {0, 4},

    {0, 10}
};
static const Note mr_lawrence[]={
    {A5, 1}, {B5, 1}, {Cs6, 1}, {E6, 1}, {Cs6, 1}, {B5, 1}, {A5, 1}, {Gs5, 1}, {A5, 4}, {0, 2},
{A5, 1}, {B5, 1}, {Cs6, 1}, {E6, 1}, {Cs6, 1}, {B5, 1}, {A5, 1}, {Gs5, 1}, {A5, 4}, {0, 2},

// 稍微变化
{A5, 1}, {B5, 1}, {Cs6, 1}, {E6, 1}, {Cs6, 1}, {B5, 1}, {A5, 1}, {Gs5, 1}, {A5, 2}, {B5, 2}, {A5, 4}, {0, 2},

// === Main Theme: 主旋律进入 ===
// 第一句: Fa... Sol La Sol... Fa Sol La Do... Sol...
{F5, 3}, {0, 1}, {G5, 1}, {0, 1},
{A5, 2}, {0, 1}, {G5, 2}, {0, 1},
{F5, 1}, {0, 1}, {G5, 1}, {0, 1},
{A5, 2}, {0, 1}, {C6, 2}, {0, 1},
{G5, 6}, {0, 2}, // 长音 Sol

// 第二句: Fa... Sol La Sol... Fa Mi Fa Sol... A...
{F5, 3}, {0, 1}, {G5, 1}, {0, 1},
{A5, 2}, {0, 1}, {G5, 2}, {0, 1},
{F5, 1}, {0, 1}, {E5, 1}, {0, 1},
{F5, 1}, {0, 1}, {G5, 1}, {0, 1},
{A5, 6}, {0, 2}, // 长音 La

// === Main Theme Repeat (高潮情感递进) ===
// 重复第一句
{F5, 3}, {0, 1}, {G5, 1}, {0, 1},
{A5, 2}, {0, 1}, {G5, 2}, {0, 1},
{F5, 1}, {0, 1}, {G5, 1}, {0, 1},
{A5, 2}, {0, 1}, {C6, 2}, {0, 1},
{G5, 6}, {0, 2},

// 重复第二句并收尾
{F5, 3}, {0, 1}, {G5, 1}, {0, 1},
{A5, 2}, {0, 1}, {G5, 2}, {0, 1},
{F5, 1}, {0, 1}, {E5, 1}, {0, 1},
{F5, 1}, {0, 1}, {G5, 1}, {0, 1},
{A5, 4}, {0, 1},

// === Outro: 回到 Intro 的循环 ===
{0, 2},
{A5, 1}, {B5, 1}, {Cs6, 1}, {E6, 1}, {Cs6, 1}, {B5, 1}, {A5, 1}, {Gs5, 1}, {A5, 6}, {0, 4}
};

static const Note gao_shan_liu_shui[]={
    // === 第一部分：高山 (巍峨耸立) ===
    // 模拟古琴的“撮” (双音)，这里用强力的高音长音替代

    // 巍巍乎若高山 (C6 - G5 - C6)
    {C6, 4}, {0, 1},
    {G5, 1}, {A5, 1}, {C6, 6}, {0, 2}, // 长啸

    // 旋律下行 (Do - La - Sol - Mi - Re - Do)
    {C6, 2}, {A5, 2}, {G5, 2}, {E5, 2},
    {D5, 1}, {E5, 1}, {D5, 1}, {C5, 1}, // 装饰音
    {C5, 6}, {0, 2},

    // 再次拔高 (Sol - La - Do - Re - E)
    {G5, 2}, {A5, 2}, {C6, 2}, {D6, 2},
    {E6, 6}, {0, 2},

    // 模拟古琴的泛音 (清脆的高音点奏)
    {G6, 1}, {0, 1}, {E6, 1}, {0, 1}, {D6, 1}, {0, 1}, {C6, 1}, {0, 1},
    {A5, 1}, {0, 1}, {G5, 1}, {0, 1}, {E5, 4}, {0, 2},


    // === 第二部分：流水 (洋洋兮若江河) ===
    // 这里需要电机快速响应，模拟水流湍急的感觉
    // 典型的五声音阶快速琶音 (Rolling Arpeggios)

    // 第一波水流 (中速)
    {G5, 1}, {A5, 1}, {C6, 1}, {D6, 1}, {E6, 2}, {0, 1},
    {E6, 1}, {D6, 1}, {C6, 1}, {A5, 1}, {G5, 2}, {0, 1},

    // 第二波水流 (加速 - 模拟滚拂)
    {G5, 1}, {A5, 1}, {C6, 1},
    {G5, 1}, {A5, 1}, {C6, 1},
    {A5, 1}, {C6, 1}, {D6, 1},
    {C6, 1}, {D6, 1}, {E6, 1},

    // 激流直下 (快速下行)
    {G6, 1}, {E6, 1}, {D6, 1}, {C6, 1},
    {A5, 1}, {G5, 1}, {E5, 1}, {D5, 1},
    {C5, 1}, {A4, 1}, {G4, 1}, {E4, 1}, // 一路跌落到低音

    // === 第三部分：汇入江海 (平缓) ===
    {G4, 4}, {0, 2},
    {C5, 2}, {D5, 2}, {E5, 4},
    {G5, 2}, {E5, 2}, {D5, 2}, {C5, 2},

    // 尾声 (余音绕梁)
    // A - G - E - D - C
    {A4, 2}, {0, 1}, {G4, 2}, {0, 1},
    {E4, 2}, {0, 1}, {D4, 2}, {0, 1},
    {C4, 8}, {0, 8}  // 极长的结束音
};
// 沧海一声笑 (The Swordsman)
// 建议 Tempo: UNIT = 150 ms

static const Note cang_hai_yi_sheng_xiao[] = {
    // === 第一句：沧海一声笑 ===
    // La Sol Mi Re Do (6 5 3 2 1)
    {A5, 2}, {G5, 2}, {E5, 2}, {D5, 2}, {C5, 8}, {0, 2},

    // === 第二句：滔滔两岸潮 ===
    // La Sol Mi Re Do (6 5 3 2 1) - 重复
    {A5, 2}, {G5, 2}, {E5, 2}, {D5, 2}, {C5, 8}, {0, 2},

    // === 第三句：浮沉随浪 ===
    // Do Re Mi Sol (1 2 3 5)
    {C5, 2}, {D5, 2}, {E5, 2}, {G5, 2},
    // La Sol Mi (6 5 3)
    {A5, 2}, {G5, 2}, {E5, 8}, {0, 2},

    // === 第四句：只记今朝 ===
    // Mi Re Do La(低) Sol(低) (3 2 1 6 5)
    {E5, 2}, {D5, 2}, {C5, 2}, {A4, 2}, {G4, 8}, {0, 2},

    // === 间奏：豪迈的长啸 ===
    {A4, 2}, {C5, 2}, {D5, 2}, {E5, 2}, {G5, 2}, {A5, 2}, {C6, 8}, {0, 4}
};
// 唢呐 - 百鸟朝凤 (模仿鸟叫片段)
// 建议 Tempo: UNIT = 80 ms (极快)

static const Note bai_niao_chao_feng[] = {
    // === 鸟叫模拟 (高音颤音) ===
    // 快速在 C6 和 D6 之间切换
    {C6, 1}, {D6, 1}, {C6, 1}, {D6, 1}, {C6, 1}, {D6, 1}, {C6, 1}, {D6, 1},
    {E6, 8}, {0, 2}, // 长啸

    // 更高的颤音 (E6 - G6)
    {E6, 1}, {G6, 1}, {E6, 1}, {G6, 1}, {E6, 1}, {G6, 1}, {E6, 1}, {G6, 1},
    {A6, 1}, {G6, 1}, {E6, 1}, {D6, 1}, {C6, 4}, {0, 2},

    // === 经典乐句：大喇叭风格 ===
    // 5(低) - 2 - 1 - 6(低) - 5(低)
    {G5, 2}, {D6, 2}, {C6, 2}, {A5, 2}, {G5, 4}, {0, 2},

    // 快速下行音阶
    {G6, 1}, {E6, 1}, {D6, 1}, {C6, 1},
    {A5, 1}, {G5, 1}, {E5, 1}, {D5, 1},
    {C5, 4}, {0, 4},

    // === 结尾：炸裂的反复 ===
    {G5, 1}, {A5, 1}, {C6, 1}, {D6, 1}, {E6, 4},
    {G5, 1}, {A5, 1}, {C6, 1}, {D6, 1}, {E6, 4},
    {G6, 8}, {0, 1}
};
// 唢呐名曲 - 男儿当自强 (The General's Mandate)
// 电影《黄飞鸿》主题曲
// 建议 Tempo: UNIT = 120 ms

static const Note nan_er_dang_zi_qiang[] = {
    // === 前奏：鼓点与呐喊 ===
    // (5 1 1 | 1 1 | 1 2 3 2 1 2 | 1 - )
    {G4, 2}, {C5, 2}, {C5, 2}, {0, 1},
    {C5, 2}, {C5, 2}, {0, 1},
    {C5, 1}, {D5, 1}, {E5, 1}, {D5, 1}, {C5, 1}, {D5, 1},
    {C5, 6}, {0, 2},

    // === 主歌：傲气面对万重浪 ===
    // (1 2 3 5 | 5 6 5 3 2 | 1 2 3 1 | 2 - )
    {C5, 2}, {D5, 2}, {E5, 2}, {G5, 2},
    {G5, 1}, {A5, 1}, {G5, 1}, {E5, 1}, {D5, 4}, {0, 1},
    {C5, 2}, {D5, 2}, {E5, 2}, {C5, 2},
    {D5, 6}, {0, 2},

    // === 热血：热血像那红日光 ===
    // (1 2 3 5 | 6 1(高) 6 5 | 3 5 3 2 | 1 - )
    {C5, 2}, {D5, 2}, {E5, 2}, {G5, 2},
    {A5, 2}, {C6, 2}, {A5, 2}, {G5, 2},
    {E5, 2}, {G5, 2}, {E5, 2}, {D5, 2},
    {C5, 6}, {0, 2},

    // === 副歌高潮：让海天为我聚能量 ===
    // (5 5 6 1(高) | 1(高) 2(高) 1(高) 6 | 5 6 5 3 | 2 - )
    {G5, 2}, {G5, 2}, {A5, 2}, {C6, 2},
    {C6, 2}, {D6, 2}, {C6, 2}, {A5, 2},
    {G5, 2}, {A5, 1}, {G5, 1}, {E5, 2}, {D5, 2},
    {D5, 6}, {0, 2},

    // === 结尾：做个好汉子 ===
    // (1 2 3 5 | 6 5 3 2 | 1 - - -)
    {C5, 2}, {D5, 2}, {E5, 2}, {G5, 2},
    {A5, 2}, {G5, 2}, {E5, 2}, {D5, 2},
    {C5, 8}, {0, 4}
};
#endif //MAMMOTH_MUSIC_SOURCE_H
```

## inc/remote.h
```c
//
// Created by nyuki on 2025/11/19.
//

#ifndef MAMMOTH_REMOTE_H
#define MAMMOTH_REMOTE_H
#include <zephyr/kernel.h>
class Remote {
public:
    Remote(int deadband,k_thread_stack_t *stack,size_t stack_size):deadband_(deadband),stack_(stack),stack_size_(stack_size){}
    int Init();
protected:
    int deadband_;
private:
    static void ThreadEntry(void *p1, void *p2, void *p3);
    k_thread_stack_t *stack_;
    size_t stack_size_;
    struct k_thread thread_data_;
};

#endif //MAMMOTH_REMOTE_H
```
